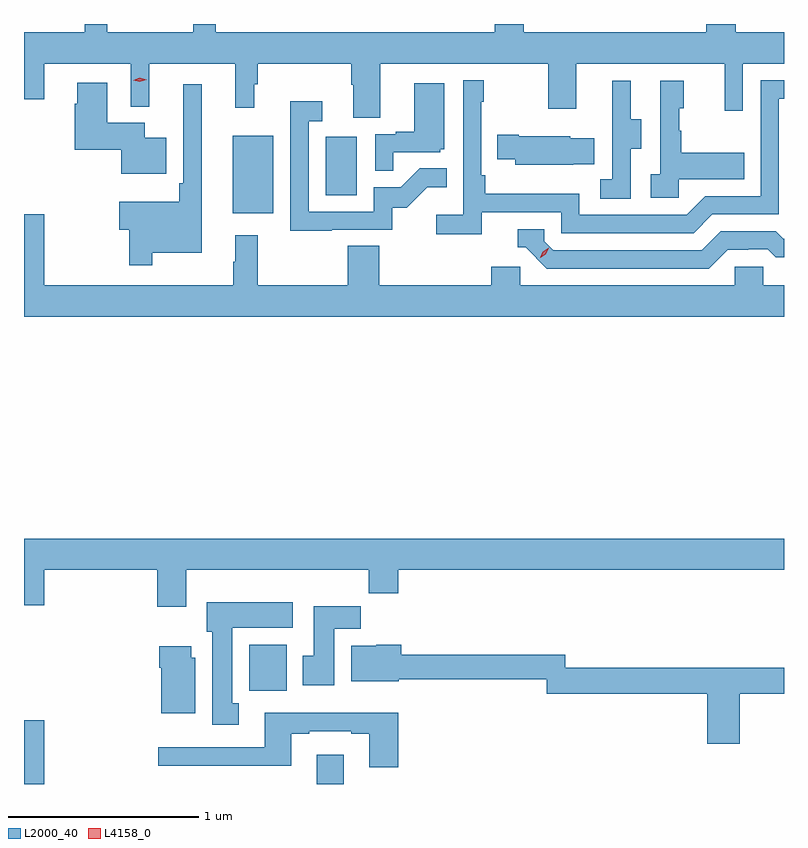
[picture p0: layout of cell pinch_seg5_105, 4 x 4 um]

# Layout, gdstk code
import gdstk
lib = gdstk.Library(unit=1e-6, precision=1e-09)
def R(c, l, rs):  # rectangles x0, y0, x1, y1
    for r in rs: c.add(gdstk.rectangle(r[:2], r[2:], *l))
def P(c, l, *ps):  # polygons
    for p in ps: c.add(gdstk.Polygon(p, *l))
L2000_40 = (2000, 40)
L4158_0 = (4158, 0)

pinch_seg5_105 = lib.new_cell('pinch_seg5_105')
R(pinch_seg5_105, L2000_40, [(1028.201,876.944,1028.308,877.279), (1029.743,876.944,1029.883,877.099), (1029.386,877.436,1029.583,877.678), (1029.299,879.947,1029.514,880.357), (1029.788,880.044,1029.952,880.351)])
P(pinch_seg5_105, L2000_40, [(1028.639,880.944),(1028.521,880.944),(1028.521,880.9),(1028.201,880.9),(1028.201,880.548),(1028.308,880.548),(1028.308,880.736),(1028.763,880.736),(1028.763,880.508),(1028.861,880.508),(1028.861,880.736),(1029.314,880.736),(1029.314,880.503),(1029.413,880.503),(1029.413,880.628),(1029.431,880.628),(1029.431,880.736),(1029.923,880.736),(1029.923,880.624),(1029.935,880.624),(1029.935,880.45),(1030.075,880.45),(1030.075,880.736),(1030.96,880.736),(1030.96,880.497),(1031.107,880.497),(1031.107,880.736),(1031.888,880.736),(1031.888,880.488),(1031.985,880.488),(1031.985,880.736),(1032.201,880.736),(1032.201,880.9),(1031.948,880.9),(1031.948,880.944),(1031.791,880.944),(1031.791,880.9),(1030.831,880.9),(1030.831,880.944),(1030.679,880.944),(1030.679,880.9),(1029.209,880.9),(1029.209,880.944),(1029.092,880.944),(1029.092,880.9),(1028.639,880.9)],
  [(1030.61,879.954),(1031.028,879.954),(1031.028,879.843),(1031.725,879.843),(1031.824,879.942),(1032.174,879.942),(1032.174,880.551),(1032.201,880.551),(1032.201,880.647),(1032.078,880.647),(1032.078,880.038),(1031.787,880.038),(1031.688,879.939),(1031.124,879.939),(1031.124,880.051),(1030.628,880.051),(1030.628,880.147),(1030.608,880.147),(1030.608,880.535),(1030.621,880.535),(1030.621,880.648),(1030.512,880.648),(1030.512,879.94),(1030.371,879.94),(1030.371,879.838),(1030.61,879.838)],
  [(1031.646,880.127),(1031.993,880.127),(1031.993,880.267),(1031.659,880.267),(1031.659,880.382),(1031.649,880.382),(1031.649,880.5),(1031.674,880.5),(1031.674,880.645),(1031.55,880.645),(1031.55,880.154),(1031.499,880.154),(1031.499,880.029),(1031.646,880.029)],
  [(1031.394,880.288),(1031.449,880.288),(1031.449,880.443),(1031.395,880.443),(1031.395,880.645),(1031.297,880.645),(1031.297,880.431),(1031.298,880.431),(1031.298,880.127),(1031.235,880.127),(1031.235,880.024),(1031.394,880.024)],
  [(1028.95,880.345),(1028.836,880.345),(1028.836,880.423),(1028.638,880.423),(1028.638,880.636),(1028.48,880.636),(1028.48,880.523),(1028.468,880.523),(1028.468,880.283),(1028.714,880.283),(1028.714,880.157),(1028.95,880.157)],
  [(1030.145,880.269),(1030.392,880.269),(1030.392,880.284),(1030.414,880.284),(1030.414,880.633),(1030.256,880.633),(1030.256,880.378),(1030.157,880.378),(1030.157,880.365),(1030.05,880.365),(1030.05,880.171),(1030.145,880.171)],
  [(1028.875,879.74),(1029.136,879.74),(1029.136,880.627),(1029.039,880.627),(1029.039,880.105),(1029.019,880.105),(1029.019,880.009),(1028.702,880.009),(1028.702,879.862),(1028.754,879.862),(1028.754,879.675),(1028.875,879.675)],
  [(1029.821,879.861),(1030.14,879.861),(1030.14,879.978),(1030.216,879.978),(1030.323,880.085),(1030.427,880.085),(1030.427,880.184),(1030.283,880.184),(1030.185,880.086),(1030.041,880.086),(1030.041,879.957),(1029.699,879.957),(1029.699,880.431),(1029.772,880.431),(1029.772,880.537),(1029.603,880.537),(1029.603,879.856),(1029.821,879.856)],
  [(1031.093,880.205),(1031.201,880.205),(1031.201,880.342),(1031.076,880.342),(1031.076,880.354),(1030.804,880.354),(1030.804,880.362),(1030.693,880.362),(1030.693,880.232),(1030.787,880.232),(1030.787,880.202),(1031.093,880.202)],
  [(1032.201,879.568),(1032.093,879.568),(1032.093,879.666),(1031.943,879.666),(1031.943,879.568),(1030.812,879.568),(1030.812,879.666),(1030.661,879.666),(1030.661,879.568),(1030.07,879.568),(1030.07,879.776),(1029.905,879.776),(1029.905,879.568),(1029.431,879.568),(1029.431,879.832),(1029.314,879.832),(1029.314,879.692),(1029.303,879.692),(1029.303,879.568),(1028.308,879.568),(1028.308,879.943),(1028.201,879.943),(1028.201,879.404),(1032.201,879.404)],
  [(1031.905,879.756),(1032.012,879.756),(1032.012,879.759),(1032.115,879.759),(1032.157,879.717),(1032.201,879.717),(1032.201,879.813),(1032.196,879.813),(1032.157,879.852),(1031.868,879.852),(1031.769,879.753),(1030.986,879.753),(1030.938,879.801),(1030.938,879.864),(1030.799,879.864),(1030.799,879.768),(1030.842,879.768),(1030.953,879.657),(1031.806,879.657)],
  [(1029.055,878.072),(1030.015,878.072),(1030.015,877.948),(1030.172,877.948),(1030.172,878.072),(1032.201,878.072),(1032.201,878.236),(1028.201,878.236),(1028.201,877.884),(1028.308,877.884),(1028.308,878.072),(1028.903,878.072),(1028.903,877.878),(1029.055,877.878)],
  [(1029.331,877.37),(1029.298,877.37),(1029.298,877.766),(1029.616,877.766),(1029.616,877.9),(1029.164,877.9),(1029.164,877.746),(1029.191,877.746),(1029.191,877.257),(1029.331,877.257)],
  [(1029.835,877.76),(1029.974,877.76),(1029.974,877.879),(1029.725,877.879),(1029.725,877.62),(1029.668,877.62),(1029.668,877.464),(1029.835,877.464)],
  [(1031.968,877.42),(1032.201,877.42),(1032.201,877.556),(1031.049,877.556),(1031.049,877.624),(1030.187,877.624),(1030.187,877.678),(1030.056,877.678),(1030.056,877.672),(1029.923,877.672),(1029.923,877.484),(1030.174,877.484),(1030.174,877.495),(1030.953,877.495),(1030.953,877.42),(1031.798,877.42),(1031.798,877.155),(1031.968,877.155)],
  [(1029.103,877.608),(1029.082,877.608),(1029.082,877.669),(1028.912,877.669),(1028.912,877.556),(1028.924,877.556),(1028.924,877.316),(1029.103,877.316)],
  [(1030.172,877.318),(1029.467,877.318),(1029.467,877.137),(1028.907,877.137),(1028.907,877.04),(1029.607,877.04),(1029.607,877.209),(1029.703,877.209),(1029.703,877.221),(1029.923,877.221),(1029.923,877.209),(1030.019,877.209),(1030.019,877.032),(1030.172,877.032)])
P(pinch_seg5_105, L4158_0, [(1030.917,879.713),(1030.917,879.713),(1030.932,879.746),(1030.962,879.767),(1030.962,879.767),(1030.962,879.766),(1030.947,879.733),(1030.917,879.713)],
  [(1028.811,880.64),(1028.775,880.649),(1028.775,880.649),(1028.775,880.649),(1028.811,880.66),(1028.847,880.651),(1028.847,880.65),(1028.847,880.65)])

lib.write_gds('pinch_seg5_105.gds')
